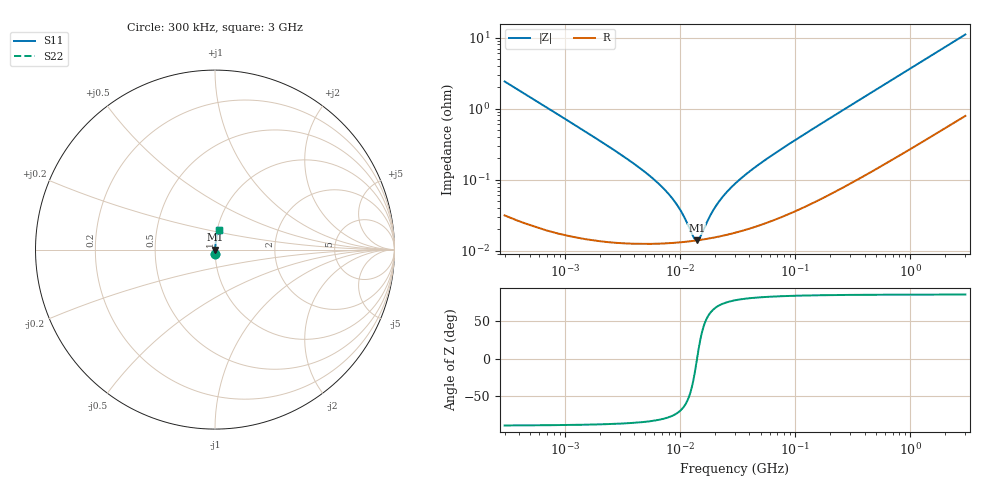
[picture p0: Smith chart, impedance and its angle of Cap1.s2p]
! Touchstone generated by fitter/viewer
# HZ S  RI R 5.000000e+001
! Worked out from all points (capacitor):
!   399 points, 300 kHz to 3 GHz, reference 50 ohm
!   read as one part in series: C = 220 nF near 307 kHz
!   lowest |Z| = 14 mohm at 13.98 MHz (marker M1)
!   series resonance near 14.05 MHz, so ESL is about 580 pH
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300000  0.000895 -0.0241  0.9991 0.0241  0.9991 0.0241  0.000895 -0.0241
1414126  0.000174 -0.00506  0.9998 0.00506  0.9998 0.00506  0.000174 -0.00506
3568602  0.00013 -0.0019  0.9999 0.0019  0.9999 0.0019  0.00013 -0.0019
4934029  0.000127 -0.00129  0.9999 0.00129  0.9999 0.00129  0.000127 -0.00129
6513354  0.000127 -0.000872  0.9999 0.000872  0.9999 0.000872  0.000127 -0.000872
8021525  0.000128 -0.000608  0.9999 0.000608  0.9999 0.000608  0.000128 -0.000608
9432106  0.000131 -0.000421  0.9999 0.000421  0.9999 0.000421  0.000131 -0.000421
1.083703e7  0.000133 -0.00027  0.9999 0.00027  0.9999 0.00027  0.000133 -0.00027
1.304104e7  0.000138 -7.66e-05  0.9999 7.66e-05  0.9999 7.66e-05  0.000138 -7.66e-05
1.397858e7  0.00014 -5.04e-06  0.9999 5.03e-06  0.9999 5.03e-06  0.00014 -5.04e-06
1.430584e7  0.000141 1.88e-05  0.9999 -1.88e-05  0.9999 -1.88e-05  0.000141 1.88e-05
1.498352e7  0.000142 6.65e-05  0.9999 -6.65e-05  0.9999 -6.65e-05  0.000142 6.65e-05
1.803083e7  0.000149 0.00026  0.9999 -0.00026  0.9999 -0.00026  0.000149 0.00026
2.071654e7  0.000156 0.00041  0.9998 -0.00041  0.9998 -0.00041  0.000156 0.00041
2.435953e7  0.000165 0.000596  0.9998 -0.000596  0.9998 -0.000596  0.000165 0.000596
3e7  0.00018 0.000858  0.9998 -0.000858  0.9998 -0.000858  0.00018 0.000858
3.869671e7  0.000203 0.00123  0.9998 -0.00123  0.9998 -0.00123  0.000203 0.00123
5.350293e7  0.000243 0.00183  0.9998 -0.00183  0.9998 -0.00183  0.000243 0.00183
1.414126e8  0.000493 0.00513  0.9995 -0.00513  0.9995 -0.00513  0.000493 0.00513
6.513354e8  0.00236 0.0238  0.9976 -0.0238  0.9976 -0.0238  0.00236 0.0238
1.498352e9  0.00695 0.0543  0.993 -0.0543  0.993 -0.0543  0.00695 0.0543
3e9  0.0195 0.1071  0.9805 -0.107  0.9805 -0.107  0.0195 0.1071
